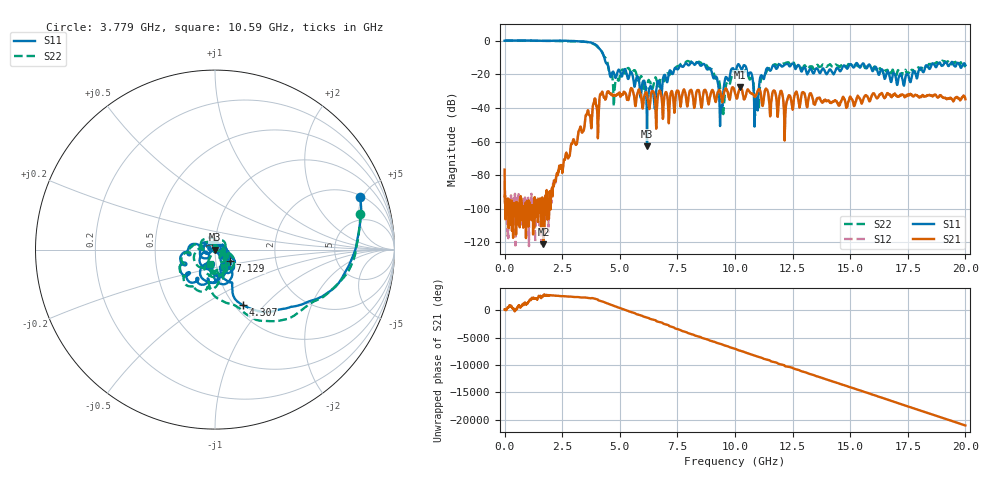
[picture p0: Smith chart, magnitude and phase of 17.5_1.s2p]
#  HZ  S  RI  R  50.00
! Rohde & Schwarz Vector Network Analyzer
! Rohde-Schwarz,ZNB20-2Port,1311601062102128,3.60
! Created: UTC 4/29/2024, 2:58:41 PM
! freq[Hz]  re:S11  im:S11  re:S21  im:S21  re:S12  im:S12  re:S22  im:S22
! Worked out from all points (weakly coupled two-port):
!   2007 points, 100 kHz to 20 GHz, reference 50 ohm
!   highest |S21| = -27.66 dB at 10.23 GHz (marker M1); lowest = -121.1 dB at 1.685 GHz (marker M2)
!   lowest |S11| = -62.8 dB at 6.182 GHz (marker M3), VSWR 1.00, Z = 50 - j0.059 ohm
!   |S11| at or under -10 dB: 4.326 GHz to end of sweep
!   |S22| runs from -44.3 to 0.1 dB; largest |S21 - S12| = 0.0022
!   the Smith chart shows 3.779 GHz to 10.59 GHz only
!   S11 on the Smith chart (normalised r, x): 3.779 GHz: 2.08, +4.77; 4.307 GHz: 1.09, -0.76; 7.129 GHz: 1.17, -0.15; 10.59 GHz: 0.92, -0.16
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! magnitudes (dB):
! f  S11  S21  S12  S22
! 100 kHz  0.0  -76.7  -83.7  0.1
! 1.685 GHz  -0.1  -121.1  -96.6  -0.2
! 2.243 GHz  0.0  -80.9  -80.8  -0.3
! 3.34 GHz  -0.6  -53.9  -53.6  -0.6
! 3.779 GHz  -1.3  -49.8  -50.2  -1.6
! 4.307 GHz  -9.2  -33.7  -33.9  -9.2
! 4.776 GHz  -20.7  -32.3  -32.4  -28.8
! 5.354 GHz  -22.8  -35.2  -35.1  -16.3
! 6.182 GHz  -62.8  -32.0  -32.0  -27.4
! 6.67 GHz  -23.8  -31.9  -32.0  -27.2
! 7.129 GHz  -19.7  -49.0  -49.2  -20.6
! 8.654 GHz  -13.9  -29.6  -29.7  -14.3
! 9.192 GHz  -21.6  -34.7  -34.6  -22.5
! 9.402 GHz  -40.2  -33.2  -33.3  -36.4
! 10 GHz  -18.7  -31.2  -31.2  -19.3
! 10.23 GHz  -15.8  -27.7  -27.7  -16.8
! 10.59 GHz  -20.6  -29.6  -29.6  -21.6
! 10.92 GHz  -33.6  -32.5  -32.4  -34.4
! 11.42 GHz  -16.2  -29.9  -29.9  -16.8
! 13.34 GHz  -18.0  -32.7  -32.8  -15.3
! 16.67 GHz  -19.0  -31.7  -31.7  -20.5
! 20 GHz  -14.6  -34.8  -34.9  -14.4
